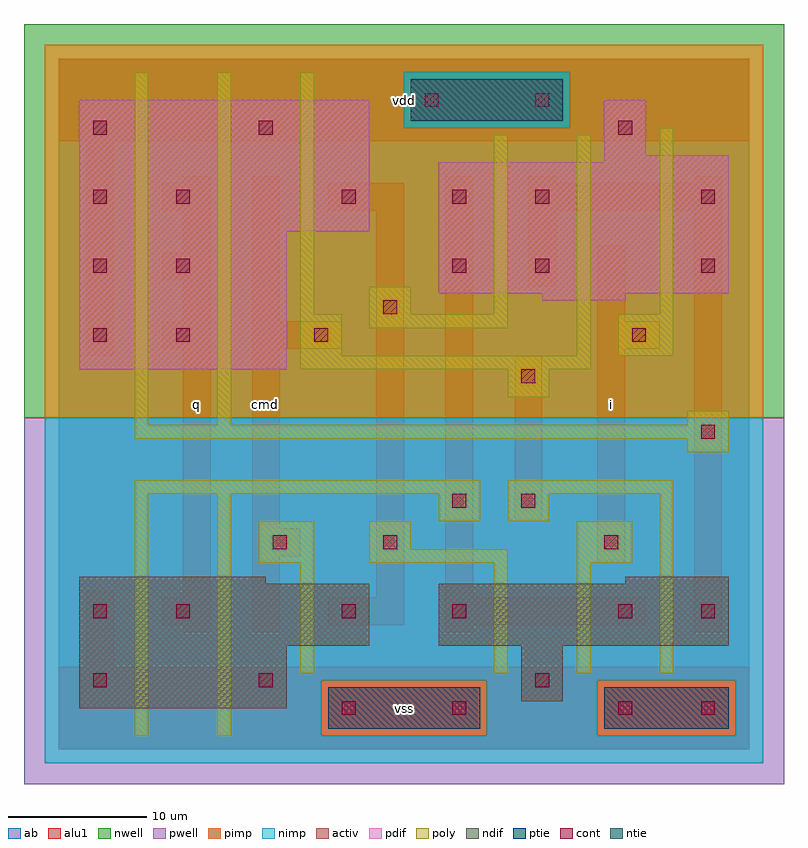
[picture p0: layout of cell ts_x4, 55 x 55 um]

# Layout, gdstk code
import gdstk
lib = gdstk.Library(unit=1e-6, precision=1e-09)
def R(c, l, rs):  # rectangles x0, y0, x1, y1
    for r in rs: c.add(gdstk.rectangle(r[:2], r[2:], *l))
def A(c, l, x, y, w, h, nx, ny, dx, dy):  # array of equal rectangles
    R(c, l, [(x+i*dx, y+j*dy, x+i*dx+w, y+j*dy+h) for i in range(nx) for j in range(ny)])
ndif = (3, 0)
pdif = (4, 0)
ntie = (5, 0)
ptie = (6, 0)
cont = (25, 0)
pwell = (41, 0)
nwell = (42, 0)
activ = (43, 0)
pimp = (44, 0)
nimp = (45, 0)
poly = (46, 0)
alu1 = (49, 0)
ab = (63, 0)

ts_x4 = lib.new_cell('ts_x4')
R(ts_x4, ndif, [(1.5,3,16.5,7.5), (33.5,3.5,36.5,7.5), (1.5,7.5,22.5,12), (27.5,7.5,48.5,12), (1.5,12,15,12.5), (41,12,48.5,12.5)])
R(ts_x4, pdif, [(1.5,27.5,16.5,37.5), (35,32.5,41,33), (27.5,33,48.5,42.5), (1.5,37.5,22.5,47), (39.5,42.5,48.5,43), (39.5,43,42.5,47)])
R(ts_x4, ntie, [(25.5,45.5,36.5,48.5)])
R(ts_x4, ptie, [(19.5,1.5,30.5,4.5), (39.5,1.5,48.5,4.5)])
A(ts_x4, cont, 2.5, 29.5, 1, 1, 1, 4, 0, 5)
A(ts_x4, cont, 8.5, 29.5, 1, 1, 1, 3, 0, 5)
R(ts_x4, cont, [(20.5,2.5,21.5,3.5), (28.5,2.5,29.5,3.5), (40.5,2.5,41.5,3.5), (46.5,2.5,47.5,3.5), (2.5,4.5,3.5,5.5), (14.5,4.5,15.5,5.5), (34.5,4.5,35.5,5.5), (2.5,9.5,3.5,10.5), (8.5,9.5,9.5,10.5), (20.5,9.5,21.5,10.5), (28.5,9.5,29.5,10.5), (40.5,9.5,41.5,10.5), (46.5,9.5,47.5,10.5), (15.5,14.5,16.5,15.5), (23.5,14.5,24.5,15.5), (39.5,14.5,40.5,15.5), (28.5,17.5,29.5,18.5), (33.5,17.5,34.5,18.5), (46.5,22.5,47.5,23.5), (33.5,26.5,34.5,27.5), (18.5,29.5,19.5,30.5), (41.5,29.5,42.5,30.5), (23.5,31.5,24.5,32.5), (28.5,34.5,29.5,35.5), (34.5,34.5,35.5,35.5), (46.5,34.5,47.5,35.5), (20.5,39.5,21.5,40.5), (28.5,39.5,29.5,40.5), (34.5,39.5,35.5,40.5), (46.5,39.5,47.5,40.5), (14.5,44.5,15.5,45.5), (40.5,44.5,41.5,45.5), (26.5,46.5,27.5,47.5), (34.5,46.5,35.5,47.5)])
R(ts_x4, pwell, [(-2.5,-2.5,52.5,24)])
R(ts_x4, nwell, [(-2.5,24,52.5,52.5)])
R(ts_x4, activ, [(19.5,1.5,30.5,4.5), (39.5,1.5,48.5,4.5), (1.5,3,16.5,7.5), (33.5,3.5,36.5,7.5), (1.5,7.5,22.5,12), (27.5,7.5,48.5,12), (1.5,12,15,12.5), (41,12,48.5,12.5), (1.5,27.5,16.5,37.5), (35,32.5,41,33), (27.5,33,48.5,42.5), (1.5,37.5,22.5,47), (39.5,42.5,48.5,43), (39.5,43,42.5,47), (25.5,45.5,36.5,48.5)])
R(ts_x4, pimp, [(19,1,31,5), (39,1,49,5), (-1,24,51,45), (-1,45,25,49), (37,45,51,49), (-1,49,51,51)])
R(ts_x4, nimp, [(-1,-1,51,1), (-1,1,19,5), (31,1,39,5), (49,1,51,5), (-1,5,51,24), (25,45,37,49)])
R(ts_x4, poly, [(5.5,1,6.5,18.5), (11.5,1,12.5,18.5), (17.5,5.5,18.5,13.5), (31.5,5.5,32.5,13.5), (37.5,5.5,38.5,13.5), (43.5,5.5,44.5,18.5), (14.5,13.5,18.5,16.5), (22.5,13.5,32.5,14.5), (37.5,13.5,41.5,16.5), (22.5,14.5,25.5,16.5), (27.5,16.5,30.5,18.5), (32.5,16.5,35.5,18.5), (5.5,18.5,30.5,19.5), (32.5,18.5,44.5,19.5), (45.5,21.5,48.5,22.5), (5.5,22.5,48.5,23.5), (5.5,23.5,6.5,49), (11.5,23.5,12.5,49), (45.5,23.5,48.5,24.5), (32.5,25.5,35.5,27.5), (17.5,27.5,38.5,28.5), (17.5,28.5,20.5,31.5), (37.5,28.5,38.5,44.5), (40.5,28.5,44.5,31.5), (22.5,30.5,32.5,31.5), (17.5,31.5,18.5,49), (22.5,31.5,25.5,33.5), (31.5,31.5,32.5,44.5), (43.5,31.5,44.5,45)])
R(ts_x4, alu1, [(0,0,50,6), (0,0,50,6), (2,6,4,11.5), (2,6,4,11.5), (9,8.5,11,9), (9,8.5,11,9), (14,8.5,16,14), (14,8.5,16,14), (28,8.5,30,9), (28,8.5,30,9), (46,8.5,48,39), (46,8.5,48,39), (7.5,9,11,11), (7.5,9,11,11), (19.5,9,25,11), (19.5,9,25,11), (28,9,42.5,11), (28,9,42.5,11), (9,11,11,29), (9,11,11,29), (23,11,25,39), (23,11,25,39), (28,11,30,41.5), (28,11,30,41.5), (39,13.5,41,29), (39,13.5,41,29), (14,14,17.5,16), (14,14,17.5,16), (14,16,16,29), (14,16,16,29), (33,16.5,35,28.5), (33,16.5,35,28.5), (2,28.5,4,44), (2,28.5,4,44), (7.5,29,11,31), (7.5,29,11,31), (14,29,20.5,31), (14,29,20.5,31), (39,29,43.5,31), (39,29,43.5,31), (9,31,11,34), (9,31,11,34), (14,31,16,41.5), (14,31,16,41.5), (39,31,41,36.5), (39,31,41,36.5), (34,33.5,36,39), (34,33.5,36,39), (7.5,34,11,36), (7.5,34,11,36), (9,36,11,39), (9,36,11,39), (7.5,39,11,41), (7.5,39,11,41), (19.5,39,25,41), (19.5,39,25,41), (34,39,48,41), (34,39,48,41), (9,41,11,41.5), (9,41,11,41.5), (34,41,36,41.5), (34,41,36,41.5), (46,41,48,41.5), (46,41,48,41.5), (0,44,50,50), (0,44,50,50)])
R(ts_x4, ab, [(0,0,50,50)])
ts_x4.add(gdstk.Label('q', (10,25), layer=49, texttype=0))
ts_x4.add(gdstk.Label('cmd', (15,25), layer=49, texttype=0))
ts_x4.add(gdstk.Label('vss', (25,3), layer=49, texttype=0))
ts_x4.add(gdstk.Label('vdd', (25,47), layer=49, texttype=0))
ts_x4.add(gdstk.Label('i', (40,25), layer=49, texttype=0))

lib.write_gds('ts_x4.gds')
